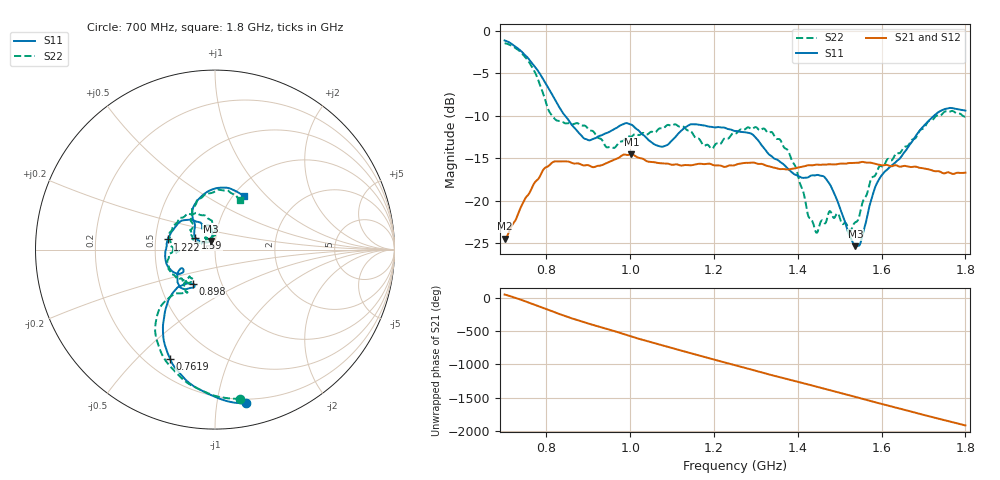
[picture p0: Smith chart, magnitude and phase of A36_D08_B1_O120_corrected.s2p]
! Created with skrf 1.9.0 (http://scikit-rf.org).
# Hz S RI R 50.0
!freq ReS11 ImS11 ReS21 ImS21 ReS12 ImS12 ReS22 ImS22
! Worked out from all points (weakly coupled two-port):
!   1601 points, 700 MHz to 1.8 GHz, reference 50 ohm
!   highest |S21| = -14.53 dB at 1.002 GHz (marker M1); lowest = -24.4 dB at 700 MHz (marker M2)
!   lowest |S11| = -25.3 dB at 1.537 GHz (marker M3), VSWR 1.11, Z = 47.5 + j4.63 ohm
!   |S11| at or under -10 dB: 844.3 MHz to 1.725 GHz (880.9 MHz wide, 68.6 % of centre)
!   |S22| runs from -23.8 to -1.5 dB; largest |S21 - S12| = 0.0036
!   S11 on the Smith chart (normalised r, x): 700 MHz: 0.17, -1.21; 761.9 MHz: 0.29, -0.63; 898 MHz: 0.73, -0.29; 1.222 GHz: 0.58, +0.07; 1.59 GHz: 0.80, +0.11; 1.8 GHz: 1.12, +0.75
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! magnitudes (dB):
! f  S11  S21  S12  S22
! 700 MHz  -1.2  -24.4  -24.2  -1.5
! 761.9 MHz  -3.6  -18.8  -18.8  -4.0
! 816.2 MHz  -7.7  -15.4  -15.5  -10.2
! 883.6 MHz  -12.4  -15.8  -15.7  -11.2
! 898 MHz  -12.8  -15.8  -15.9  -11.5
! 946.1 MHz  -12.0  -15.5  -15.5  -13.7
! 1.002 GHz  -11.1  -14.5  -14.6  -12.4
! 1.067 GHz  -13.6  -15.6  -15.5  -11.6
! 1.144 GHz  -11.0  -15.8  -15.8  -11.8
! 1.222 GHz  -11.4  -16.0  -16.0  -12.8
! 1.25 GHz  -11.8  -15.8  -15.7  -12.1
! 1.358 GHz  -15.4  -16.3  -16.2  -12.8
! 1.394 GHz  -16.9  -16.2  -16.2  -16.0
! 1.434 GHz  -17.0  -15.8  -15.8  -22.3
! 1.446 GHz  -17.0  -15.7  -15.8  -23.7
! 1.476 GHz  -18.0  -15.7  -15.7  -21.2
! 1.537 GHz  -25.3  -15.5  -15.5  -22.5
! 1.55 GHz  -24.8  -15.5  -15.5  -21.0
! 1.59 GHz  -17.8  -15.7  -15.7  -16.5
! 1.617 GHz  -16.1  -15.9  -15.8  -15.1
! 1.733 GHz  -9.7  -16.5  -16.5  -10.0
! 1.8 GHz  -9.4  -16.7  -16.7  -10.1
